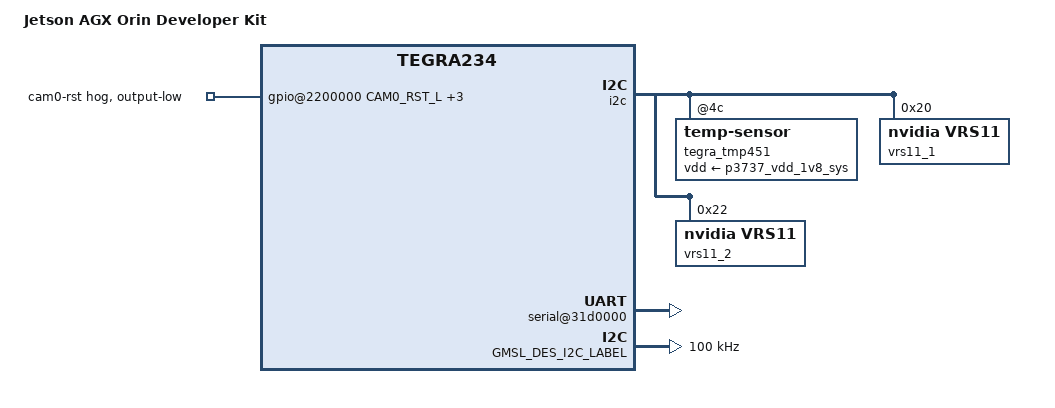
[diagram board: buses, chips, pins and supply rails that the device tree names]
/*
 * Top level DTS file for CVM:P3701-0000 and CVB:P3737-0000.
 *
 * Copyright (c) 2021-2023, NVIDIA CORPORATION.  All rights reserved.
 *
 * This program is free software; you can redistribute it and/or modify
 * it under the terms of the GNU General Public License as published by
 * the Free Software Foundation; version 2 of the License.
 *
 * This program is distributed in the hope that it will be useful, but WITHOUT
 * ANY WARRANTY; without even the implied warranty of MERCHANTABILITY or
 * FITNESS FOR A PARTICULAR PURPOSE.  See the GNU General Public License for
 * more details.
 */

/dts-v1/;
#include "tegra234-p3701-0000-prod.dtsi"
#include "cvm/tegra234-p3701-0000.dtsi"
#include "cvb/tegra234-p3737-0000-a04.dtsi"
#include "tegra234-power-tree-p3701-0000-p3737-0000.dtsi"
#include "tegra234-dcb-p3701-0000-a02-p3737-0000-a01.dtsi"
#include <tegra234-soc/mods-simple-bus.dtsi>
// #include "cvb/tegra234-p3737-camera-modules.dtsi"
#include <t234-common-cvb/tegra234-pwm.dtsi>
#include <t234-common-cvm/tegra234-cpuidle.dtsi>
#include <t234-common-cvm/tegra234-thermal.dtsi>
#include <t234-common-cvm/tegra234-thermal-cooling.dtsi>
#include <t234-common-cvm/tegra234-thermal-userspace-alert.dtsi>
#include <tegra234-soc/tegra234-soc-hwpm.dtsi>

#define CAM0_RST_L	TEGRA234_MAIN_GPIO(H, 3)
#define CAM0_PWDN	TEGRA234_MAIN_GPIO(H, 6)
#define CAM1_RST_L	TEGRA234_MAIN_GPIO(AC, 1)
#define CAM1_PWDN	TEGRA234_MAIN_GPIO(AC, 0)

#define CAM_I2C_MUX 	TEGRA234_AON_GPIO(CC, 3)

/ {
	nvidia,dtsfilename = __FILE__;
	nvidia,dtbbuildtime = __DATE__, __TIME__;

	compatible = "nvidia,p3737-0000+p3701-0000", "nvidia,p3701-0000", "nvidia,tegra234", "nvidia,tegra23x";
	model = "Jetson AGX Orin Developer Kit";

	nvsciipc-kernel {
		compatible = "nvidia,nvsciipc";
		status = "okay";
	};

	firmware {
		android {
			compatible = "android,firmware";
			first_stage_delay = "1";
			system_root_blkdev = "/dev/mmcblk0p1";
			fstab {
				compatible = "android,fstab";
				vendor {
					compatible = "android,vendor";
					dev = "/dev/block/platform/3460000.sdhci/by-name/vendor";
					type = "ext4";
					mnt_flags = "ro,noatime";
					fsmgr_flags = "wait";
				};
			};
		};
	};

	/* set camera gpio direction to output */
	gpio@2200000 {
			camera-control-output-low {
					gpio-hog;
					output-low;
					gpios = <CAM0_RST_L 0 CAM0_PWDN 1
							CAM1_RST_L 0 CAM1_PWDN 1
							>;
					label = "cam0-rst", "cam0-pwdn",
							"cam1-rst", "cam1-pwdn";
			};
	};


	display@13800000 {
		status = "okay";
	};

	dce@d800000 {
		status = "okay";
	};

	bpmp {
		i2c {
			tegra_tmp451: temp-sensor@4c {
				vdd-supply = <&p3737_vdd_1v8_sys>;

				ext {
					shutdown-limit = <107>;
				};
			};

			vrs11_1@20 {
				compatible = "nvidia,vrs11";
				reg = <0x20>;
				rail-name-loopA = "GPU";
				rail-name-loopB = "CPU";
				status = "okay";
			};

			vrs11_2@22 {
				compatible = "nvidia,vrs11";
				reg = <0x22>;
				rail-name-loopA = "SOC";
				rail-name-loopB = "CV";
				status = "okay";
			};
		};
	};

	reserved-memory {
		linux,cma {
			status = "okay";
		};
	};

	tegra_soc_hwpm {
                status = "okay";
        };

	tegra-hsp@3d00000 {
		status = "okay";
	};

	aon@c000000 {
		status = "okay";
	};

	cpu_alert: cpu-throttle-alert {
		status = "okay";
	};

	gpu_alert: gpu-throttle-alert {
		status = "okay";
	};

	cv0_alert: cv0-throttle-alert {
		status = "okay";
	};

	cv1_alert: cv1-throttle-alert {
		status = "okay";
	};

	cv2_alert: cv2-throttle-alert {
		status = "okay";
	};

	soc0_alert: soc0-throttle-alert {
		status = "okay";
	};

	soc1_alert: soc1-throttle-alert {
		status = "okay";
	};

	soc2_alert: soc2-throttle-alert {
		status = "okay";
	};

	hot_surface_alert: hot-surface-alert {
		status = "okay";
	};

	stm@24080000 {
		status = "disabled";
	};

	cpu0_etm@27040000 {
		status = "disabled";
	};

	cpu1_etm@27140000 {
		status = "disabled";
	};

	cpu2_etm@27240000 {
		status = "disabled";
	};

	cpu3_etm@27340000 {
		status = "disabled";
	};

	cpu4_etm@27440000 {
		status = "disabled";
	};

	cpu5_etm@27540000 {
		status = "disabled";
	};

	cpu6_etm@27640000 {
		status = "disabled";
	};

	cpu7_etm@27740000 {
		status = "disabled";
	};

	cpu8_etm@27840000 {
		status = "disabled";
	};

	cpu9_etm@27940000 {
		status = "disabled";
	};

	cpu10_etm@27A40000 {
		status = "disabled";
	};

	cpu11_etm@27B40000 {
		status = "disabled";
	};

	funnel_ccplex0@26030000 {
		status = "disabled";
	};

	funnel_ccplex1@26040000 {
		status = "disabled";
	};

	funnel_ccplex2@26050000 {
		status = "disabled";
	};

	funnel_top_ccplex@26020000 {
		status = "disabled";
	};

	funnel_major@24040000 {
		status = "disabled";
	};

	replicator@24060000 {
		status = "disabled";
	};

	etf@24050000 {
		status = "disabled";
	};

	etr@24070000 {
		status = "disabled";
	};

	serial@31d0000 {
		status = "okay";
	};
	pcie@141a0000 {
		nvidia,disable-power-down;
	};

	// cam_i2cmux {
	// 	compatible = "i2c-mux-gpio";
	// 	#address-cells = <1>;
	// 	#size-cells = <0>;
	// 	mux-gpios = <&tegra_aon_gpio CAM_I2C_MUX GPIO_ACTIVE_HIGH>;
	// 	i2c-parent = <&dp_aux_ch2_i2c>;

	// 	cam_i2c_0: i2c@0 {
	// 		reg = <0>;
	// 		#address-cells = <1>;
	// 		#size-cells = <0>;
	// 	};

	// 	cam_i2c_1: i2c@1 {
	// 		reg = <1>;
	// 		#address-cells = <1>;
	// 		#size-cells = <0>;
	// 	};
	// };

};

#define GMSL

#define GMSL_TEGRA_PORT			0

#define GMSL_DES_PHY			1
#define GMSL_DES_PHY_NUM_LANES		4

// #define GMSL_TEGRA_PORT			1
// #define GMSL_DES_PHY			0
// #define GMSL_DES_PHY_NUM_LANES		2 
#define GMSL_DES_PHY_LINK_FREQ		1250000000
//#define GMSL_DES_PHY_LINK_FREQ		750000000

#define GMSL_CAMERA_NUM			4
#define GMSL_DES_MAX96724
// #define GMSL_SER_0_MAX9295A
#define GMSL_SER_0_MAX96717
#define GMSL_SER_1_MAX96717
#define GMSL_SER_2_MAX96717
#define GMSL_SER_3_MAX96717

#define GMSL_CAM_0_TEGRA_OX03A
#define GMSL_CAM_1_TEGRA_OX03A
#define GMSL_CAM_2_TEGRA_OX03A
#define GMSL_CAM_3_TEGRA_OX03A


// #define GMSL_CAM_0_TEGRA_IMX219
// #define GMSL_TEGRA_LANE_POLARITY_SWAP

#define GMSL_CAM_0_DEFAULT_HEX_ADDR	0x1a
#define GMSL_CAM_1_DEFAULT_HEX_ADDR	0x1a
#define GMSL_CAM_2_DEFAULT_HEX_ADDR	0x1a
#define GMSL_CAM_3_DEFAULT_HEX_ADDR	0x1a

#define GMSL
#define GMSL_TEGRA_PLATFORM

// #if GMSL_TEGRA_PORT == 0 || GMSL_TEGRA_PORT == 1
// #define GMSL_DES_I2C_LABEL cam_i2c_0
// #elif GMSL_TEGRA_PORT == 2 || GMSL_TEGRA_PORT == 3
// #define GMSL_DES_I2C_LABEL cam_i2c_1
// #else
// #error
// #endif
#define GMSL_DES_I2C_LABEL  dp_aux_ch2_i2c

#if GMSL_TEGRA_PORT == 1
#define GMSL_TEGRA_LANE_POLARITY_SWAP
#endif

&GMSL_DES_I2C_LABEL {
	clock-frequency = <100000>;
};

#include <t234-common-cvb/gmsl/gmsl.dtsi>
